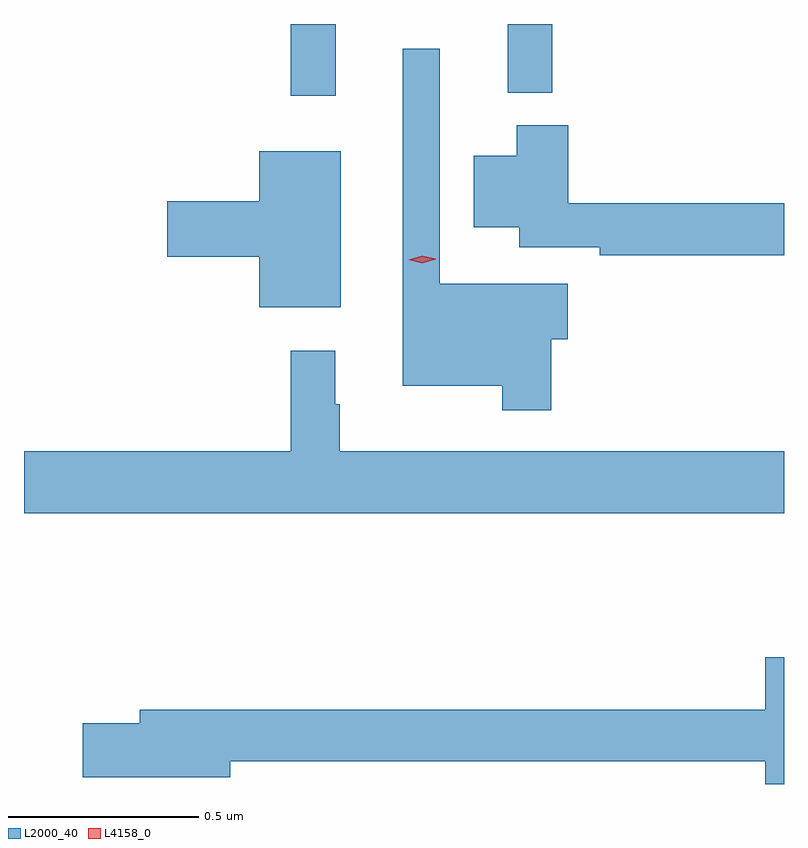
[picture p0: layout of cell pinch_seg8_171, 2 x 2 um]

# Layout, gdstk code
import gdstk
lib = gdstk.Library(unit=1e-6, precision=1e-09)
def R(c, l, rs):  # rectangles x0, y0, x1, y1
    for r in rs: c.add(gdstk.rectangle(r[:2], r[2:], *l))
def P(c, l, *ps):  # polygons
    for p in ps: c.add(gdstk.Polygon(p, *l))
L2000_40 = (2000, 40)
L4158_0 = (4158, 0)

pinch_seg8_171 = lib.new_cell('pinch_seg8_171')
R(pinch_seg8_171, L2000_40, [(693.577,1125.591,693.695,1125.78), (694.148,1125.599,694.265,1125.78)])
P(pinch_seg8_171, L2000_40, [(694.262,1124.95),(694.306,1124.95),(694.306,1125.097),(693.969,1125.097),(693.969,1125.715),(693.872,1125.715),(693.872,1124.828),(694.134,1124.828),(694.134,1124.763),(694.262,1124.763)],
  [(694.875,1125.308),(694.307,1125.308),(694.307,1125.514),(694.172,1125.514),(694.172,1125.433),(694.058,1125.433),(694.058,1125.245),(694.178,1125.245),(694.178,1125.192),(694.39,1125.192),(694.39,1125.172),(694.875,1125.172)],
  [(693.709,1125.445),(693.494,1125.445),(693.494,1125.314),(693.252,1125.314),(693.252,1125.167),(693.494,1125.167),(693.494,1125.035),(693.709,1125.035)],
  [(694.875,1124.656),(693.706,1124.656),(693.706,1124.78),(693.694,1124.78),(693.694,1124.92),(693.577,1124.92),(693.577,1124.656),(692.875,1124.656),(692.875,1124.492),(694.875,1124.492)],
  [(694.875,1124.113),(694.826,1124.113),(694.826,1123.976),(693.179,1123.976),(693.179,1123.94),(693.03,1123.94),(693.03,1123.798),(693.418,1123.798),(693.418,1123.84),(694.826,1123.84),(694.826,1123.78),(694.875,1123.78)])
P(pinch_seg8_171, L4158_0, [(693.923,1125.15),(693.888,1125.159),(693.888,1125.159),(693.888,1125.159),(693.923,1125.17),(693.958,1125.162),(693.959,1125.162),(693.958,1125.161)])

lib.write_gds('pinch_seg8_171.gds')
